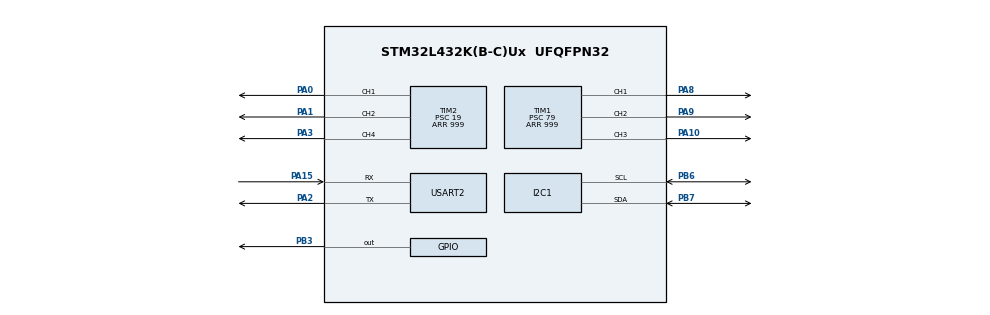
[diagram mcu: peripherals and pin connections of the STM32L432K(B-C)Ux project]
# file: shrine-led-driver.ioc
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I2C1.OwnAddress=16
I2C1.Timing=0x00100D14
Mcu.Family=STM32L4
Mcu.Name=STM32L432K(B-C)Ux
Mcu.Package=UFQFPN32
NVIC.I2C1_ER_IRQn=true\:0\:0\:false\:false\:true\:true\:true\:true
NVIC.I2C1_EV_IRQn=true\:0\:0\:false\:false\:true\:true\:true\:true
NVIC.PriorityGroup=NVIC_PRIORITYGROUP_4
PA0.Signal=S_TIM2_CH1
PA1.Signal=S_TIM2_CH2
PA10.Signal=S_TIM1_CH3
PA15\ (JTDI).Mode=Asynchronous
PA15\ (JTDI).Signal=USART2_RX
PA2.Mode=Asynchronous
PA2.Signal=USART2_TX
PA3.Signal=S_TIM2_CH4
PA8.Signal=S_TIM1_CH1
PA9.Signal=S_TIM1_CH2
PB3\ (JTDO-TRACESWO).Signal=GPIO_Output
PB6.Mode=I2C
PB6.Signal=I2C1_SCL
PB7.Mode=I2C
PB7.Signal=I2C1_SDA
ProjectManager.HeapSize=0x200
ProjectManager.StackSize=0x400
ProjectManager.TargetToolchain=STM32CubeIDE
RCC.HSE_VALUE=8000000
RCC.HSI48_VALUE=48000000
RCC.HSI_VALUE=16000000
RCC.LSE_VALUE=32768
RCC.MSI_VALUE=4000000
RCC.VCOOutputFreq_Value=32000000
SH.S_TIM1_CH1.0=TIM1_CH1,PWM Generation1 CH1
SH.S_TIM1_CH2.0=TIM1_CH2,PWM Generation2 CH2
SH.S_TIM1_CH3.0=TIM1_CH3,PWM Generation3 CH3
SH.S_TIM2_CH1.0=TIM2_CH1,PWM Generation1 CH1
SH.S_TIM2_CH2.0=TIM2_CH2,PWM Generation2 CH2
SH.S_TIM2_CH4.0=TIM2_CH4,PWM Generation4 CH4
TIM1.AutoReloadPreload=TIM_AUTORELOAD_PRELOAD_ENABLE
TIM1.Channel-PWM\ Generation1\ CH1=TIM_CHANNEL_1
TIM1.Channel-PWM\ Generation2\ CH2=TIM_CHANNEL_2
TIM1.Channel-PWM\ Generation3\ CH3=TIM_CHANNEL_3
TIM1.Period=999
TIM1.Prescaler=79
TIM2.AutoReloadPreload=TIM_AUTORELOAD_PRELOAD_ENABLE
TIM2.Channel-PWM\ Generation1\ CH1=TIM_CHANNEL_1
TIM2.Channel-PWM\ Generation2\ CH2=TIM_CHANNEL_2
TIM2.Channel-PWM\ Generation4\ CH4=TIM_CHANNEL_4
TIM2.Period=999
TIM2.Prescaler=19
USART2.VirtualMode-Asynchronous=VM_ASYNC
VP_TIM1_VS_ClockSourceINT.Mode=Internal
VP_TIM2_VS_ClockSourceINT.Mode=Internal
board=custom

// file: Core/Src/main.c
/* USER CODE BEGIN Header */
/**
  ******************************************************************************
  * @file           : main.c
  * @brief          : Main program body
  ******************************************************************************
  * @attention
  *
  * Copyright (c) 2026 STMicroelectronics.
  * All rights reserved.
  *
  * This software is licensed under terms that can be found in the LICENSE file
  * in the root directory of this software component.
  * If no LICENSE file comes with this software, it is provided AS-IS.
  *
  ******************************************************************************
  */
/* USER CODE END Header */
#include "main.h"

/* USER CODE BEGIN Includes */
#include <string.h>
#include <stdarg.h>
#include <stdio.h>
#include "valhalla_i2c_slave.h"
#include "valhalla_rgb_strip.h"
#include "status_pb3_led.h"
/* USER CODE END Includes */

I2C_HandleTypeDef hi2c1;

TIM_HandleTypeDef htim1;
TIM_HandleTypeDef htim2;

UART_HandleTypeDef huart2;

/* USER CODE BEGIN PV */
static uint32_t s_valhalla_i2c_rx_count_seen;
/* USER CODE END PV */

void SystemClock_Config(void);
static void MX_GPIO_Init(void);
static void MX_TIM1_Init(void);
static void MX_USART2_UART_Init(void);
static void MX_TIM2_Init(void);
static void MX_I2C1_Init(void);

/* USER CODE BEGIN 0 */
static void main_debug_vprint(const char *const fmt, va_list args);

void main_debug_print(const char *const fmt, ...)
{
  va_list args;

  va_start(args, fmt);
  main_debug_vprint(fmt, args);
  va_end(args);
}

static void main_debug_vprint(const char *const fmt, va_list args)
{
#ifndef NO_DEBUG_MAIN
    char str[256];
    uint16_t len;

    memset((char *)str, 0, sizeof(char) * 256);

    (void)vsnprintf((char *)str, sizeof(str), (char const *)fmt, args);

    len = (uint16_t)strlen((char *)str);

    HAL_UART_Transmit(&huart2, (uint8_t*)str, len, HAL_MAX_DELAY);
#endif

}

void main_debug_print_hex(const uint8_t *buf, uint16_t len)
{
    uint16_t i;
    for (i = 0; i < len; i++)
    {
      main_debug_print("0x%02X ", buf[i]);
    }
}

/* USER CODE END 0 */

int main(void)
{

  /* MCU Configuration--------------------------------------------------------*/

  /* Reset of all peripherals, Initializes the Flash interface and the Systick. */
  HAL_Init();

  /* Configure the system clock */
  SystemClock_Config();

  /* Initialize all configured peripherals */
  MX_GPIO_Init();
  MX_TIM1_Init();
  MX_USART2_UART_Init();
  MX_TIM2_Init();
  MX_I2C1_Init();
  /* USER CODE BEGIN 2 */

  main_debug_print("Initializing...\r\n");

  valhalla_i2c_slave_init(&hi2c1);

  HAL_TIM_PWM_Start(&htim1, TIM_CHANNEL_1); // Red
  HAL_TIM_PWM_Start(&htim1, TIM_CHANNEL_2); // Green
  HAL_TIM_PWM_Start(&htim1, TIM_CHANNEL_3); // Blue

  HAL_TIM_PWM_Start(&htim2, TIM_CHANNEL_1); // Red
  HAL_TIM_PWM_Start(&htim2, TIM_CHANNEL_2); // Green
  HAL_TIM_PWM_Start(&htim2, TIM_CHANNEL_4); // Blue

  status_pb3_led_init();
  s_valhalla_i2c_rx_count_seen = valhalla_i2c_rx_complete_count();

  valhalla_rgb_strip_bind_timers(&htim1, &htim2);

  /* USER CODE END 2 */

  /* Infinite loop */
  /* USER CODE BEGIN WHILE */

  main_debug_print("Starting loop.\r\n");

  while (1)
  {
    /* USER CODE END WHILE */

    /* USER CODE BEGIN 3 */
    uint32_t n_rx;
    uint32_t tick;

    valhalla_i2c_slave_poll_uart_log();

    tick = HAL_GetTick();
    n_rx = valhalla_i2c_rx_complete_count();
    if (n_rx != s_valhalla_i2c_rx_count_seen)
    {
      s_valhalla_i2c_rx_count_seen = n_rx;
      status_pb3_led_on_i2c_snapshot_if_valid(valhalla_i2c_get_last_tags());
    }

    status_pb3_led_poll(tick);

    HAL_Delay(50U);
  }
  /* USER CODE END 3 */
}

void SystemClock_Config(void)
{
  RCC_OscInitTypeDef RCC_OscInitStruct = {0};
  RCC_ClkInitTypeDef RCC_ClkInitStruct = {0};

  /** Configure the main internal regulator output voltage
  */
  if (HAL_PWREx_ControlVoltageScaling(PWR_REGULATOR_VOLTAGE_SCALE1) != HAL_OK)
  {
    Error_Handler();
  }

  /** Initializes the RCC Oscillators according to the specified parameters
  * in the RCC_OscInitTypeDef structure.
  */
  RCC_OscInitStruct.OscillatorType = RCC_OSCILLATORTYPE_MSI;
  RCC_OscInitStruct.MSIState = RCC_MSI_ON;
  RCC_OscInitStruct.MSICalibrationValue = 0;
  RCC_OscInitStruct.MSIClockRange = RCC_MSIRANGE_6;
  RCC_OscInitStruct.PLL.PLLState = RCC_PLL_NONE;
  if (HAL_RCC_OscConfig(&RCC_OscInitStruct) != HAL_OK)
  {
    Error_Handler();
  }

  /** Initializes the CPU, AHB and APB buses clocks
  */
  RCC_ClkInitStruct.ClockType = RCC_CLOCKTYPE_HCLK|RCC_CLOCKTYPE_SYSCLK
                              |RCC_CLOCKTYPE_PCLK1|RCC_CLOCKTYPE_PCLK2;
  RCC_ClkInitStruct.SYSCLKSource = RCC_SYSCLKSOURCE_MSI;
  RCC_ClkInitStruct.AHBCLKDivider = RCC_SYSCLK_DIV1;
  RCC_ClkInitStruct.APB1CLKDivider = RCC_HCLK_DIV1;
  RCC_ClkInitStruct.APB2CLKDivider = RCC_HCLK_DIV1;

  if (HAL_RCC_ClockConfig(&RCC_ClkInitStruct, FLASH_LATENCY_0) != HAL_OK)
  {
    Error_Handler();
  }
}

static void MX_I2C1_Init(void)
{

  hi2c1.Instance = I2C1;
  hi2c1.Init.Timing = 0x00100D14;
  hi2c1.Init.OwnAddress1 = 32;
  hi2c1.Init.AddressingMode = I2C_ADDRESSINGMODE_7BIT;
  hi2c1.Init.DualAddressMode = I2C_DUALADDRESS_DISABLE;
  hi2c1.Init.OwnAddress2 = 0;
  hi2c1.Init.OwnAddress2Masks = I2C_OA2_NOMASK;
  hi2c1.Init.GeneralCallMode = I2C_GENERALCALL_DISABLE;
  hi2c1.Init.NoStretchMode = I2C_NOSTRETCH_DISABLE;
  if (HAL_I2C_Init(&hi2c1) != HAL_OK)
  {
    Error_Handler();
  }

  /** Configure Analogue filter
  */
  if (HAL_I2CEx_ConfigAnalogFilter(&hi2c1, I2C_ANALOGFILTER_ENABLE) != HAL_OK)
  {
    Error_Handler();
  }

  /** Configure Digital filter
  */
  if (HAL_I2CEx_ConfigDigitalFilter(&hi2c1, 0) != HAL_OK)
  {
    Error_Handler();
  }

}

static void MX_TIM1_Init(void)
{

  TIM_ClockConfigTypeDef sClockSourceConfig = {0};
  TIM_MasterConfigTypeDef sMasterConfig = {0};
  TIM_OC_InitTypeDef sConfigOC = {0};
  TIM_BreakDeadTimeConfigTypeDef sBreakDeadTimeConfig = {0};

  htim1.Instance = TIM1;
  htim1.Init.Prescaler = 79;
  htim1.Init.CounterMode = TIM_COUNTERMODE_UP;
  htim1.Init.Period = 999;
  htim1.Init.ClockDivision = TIM_CLOCKDIVISION_DIV1;
  htim1.Init.RepetitionCounter = 0;
  htim1.Init.AutoReloadPreload = TIM_AUTORELOAD_PRELOAD_ENABLE;
  if (HAL_TIM_Base_Init(&htim1) != HAL_OK)
  {
    Error_Handler();
  }
  sClockSourceConfig.ClockSource = TIM_CLOCKSOURCE_INTERNAL;
  if (HAL_TIM_ConfigClockSource(&htim1, &sClockSourceConfig) != HAL_OK)
  {
    Error_Handler();
  }
  if (HAL_TIM_PWM_Init(&htim1) != HAL_OK)
  {
    Error_Handler();
  }
  sMasterConfig.MasterOutputTrigger = TIM_TRGO_RESET;
  sMasterConfig.MasterOutputTrigger2 = TIM_TRGO2_RESET;
  sMasterConfig.MasterSlaveMode = TIM_MASTERSLAVEMODE_DISABLE;
  if (HAL_TIMEx_MasterConfigSynchronization(&htim1, &sMasterConfig) != HAL_OK)
  {
    Error_Handler();
  }
  sConfigOC.OCMode = TIM_OCMODE_PWM1;
  sConfigOC.Pulse = 0;
  sConfigOC.OCPolarity = TIM_OCPOLARITY_HIGH;
  sConfigOC.OCNPolarity = TIM_OCNPOLARITY_HIGH;
  sConfigOC.OCFastMode = TIM_OCFAST_DISABLE;
  sConfigOC.OCIdleState = TIM_OCIDLESTATE_RESET;
  sConfigOC.OCNIdleState = TIM_OCNIDLESTATE_RESET;
  if (HAL_TIM_PWM_ConfigChannel(&htim1, &sConfigOC, TIM_CHANNEL_1) != HAL_OK)
  {
    Error_Handler();
  }
  if (HAL_TIM_PWM_ConfigChannel(&htim1, &sConfigOC, TIM_CHANNEL_2) != HAL_OK)
  {
    Error_Handler();
  }
  if (HAL_TIM_PWM_ConfigChannel(&htim1, &sConfigOC, TIM_CHANNEL_3) != HAL_OK)
  {
    Error_Handler();
  }
  sBreakDeadTimeConfig.OffStateRunMode = TIM_OSSR_DISABLE;
  sBreakDeadTimeConfig.OffStateIDLEMode = TIM_OSSI_DISABLE;
  sBreakDeadTimeConfig.LockLevel = TIM_LOCKLEVEL_OFF;
  sBreakDeadTimeConfig.DeadTime = 0;
  sBreakDeadTimeConfig.BreakState = TIM_BREAK_DISABLE;
  sBreakDeadTimeConfig.BreakPolarity = TIM_BREAKPOLARITY_HIGH;
  sBreakDeadTimeConfig.BreakFilter = 0;
  sBreakDeadTimeConfig.Break2State = TIM_BREAK2_DISABLE;
  sBreakDeadTimeConfig.Break2Polarity = TIM_BREAK2POLARITY_HIGH;
  sBreakDeadTimeConfig.Break2Filter = 0;
  sBreakDeadTimeConfig.AutomaticOutput = TIM_AUTOMATICOUTPUT_DISABLE;
  if (HAL_TIMEx_ConfigBreakDeadTime(&htim1, &sBreakDeadTimeConfig) != HAL_OK)
  {
    Error_Handler();
  }
  HAL_TIM_MspPostInit(&htim1);

}

static void MX_TIM2_Init(void)
{

  TIM_ClockConfigTypeDef sClockSourceConfig = {0};
  TIM_MasterConfigTypeDef sMasterConfig = {0};
  TIM_OC_InitTypeDef sConfigOC = {0};

  htim2.Instance = TIM2;
  htim2.Init.Prescaler = 19;
  htim2.Init.CounterMode = TIM_COUNTERMODE_UP;
  htim2.Init.Period = 999;
  htim2.Init.ClockDivision = TIM_CLOCKDIVISION_DIV1;
  htim2.Init.AutoReloadPreload = TIM_AUTORELOAD_PRELOAD_ENABLE;
  if (HAL_TIM_Base_Init(&htim2) != HAL_OK)
  {
    Error_Handler();
  }
  sClockSourceConfig.ClockSource = TIM_CLOCKSOURCE_INTERNAL;
  if (HAL_TIM_ConfigClockSource(&htim2, &sClockSourceConfig) != HAL_OK)
  {
    Error_Handler();
  }
  if (HAL_TIM_PWM_Init(&htim2) != HAL_OK)
  {
    Error_Handler();
  }
  sMasterConfig.MasterOutputTrigger = TIM_TRGO_RESET;
  sMasterConfig.MasterSlaveMode = TIM_MASTERSLAVEMODE_DISABLE;
  if (HAL_TIMEx_MasterConfigSynchronization(&htim2, &sMasterConfig) != HAL_OK)
  {
    Error_Handler();
  }
  sConfigOC.OCMode = TIM_OCMODE_PWM1;
  sConfigOC.Pulse = 0;
  sConfigOC.OCPolarity = TIM_OCPOLARITY_HIGH;
  sConfigOC.OCFastMode = TIM_OCFAST_DISABLE;
  if (HAL_TIM_PWM_ConfigChannel(&htim2, &sConfigOC, TIM_CHANNEL_1) != HAL_OK)
  {
    Error_Handler();
  }
  if (HAL_TIM_PWM_ConfigChannel(&htim2, &sConfigOC, TIM_CHANNEL_2) != HAL_OK)
  {
    Error_Handler();
  }
  if (HAL_TIM_PWM_ConfigChannel(&htim2, &sConfigOC, TIM_CHANNEL_4) != HAL_OK)
  {
    Error_Handler();
  }
  HAL_TIM_MspPostInit(&htim2);

}

static void MX_USART2_UART_Init(void)
{

  huart2.Instance = USART2;
  huart2.Init.BaudRate = 115200;
  huart2.Init.WordLength = UART_WORDLENGTH_8B;
  huart2.Init.StopBits = UART_STOPBITS_1;
  huart2.Init.Parity = UART_PARITY_NONE;
  huart2.Init.Mode = UART_MODE_TX_RX;
  huart2.Init.HwFlowCtl = UART_HWCONTROL_NONE;
  huart2.Init.OverSampling = UART_OVERSAMPLING_16;
  huart2.Init.OneBitSampling = UART_ONE_BIT_SAMPLE_DISABLE;
  huart2.AdvancedInit.AdvFeatureInit = UART_ADVFEATURE_NO_INIT;
  if (HAL_UART_Init(&huart2) != HAL_OK)
  {
    Error_Handler();
  }

}

static void MX_GPIO_Init(void)
{
  GPIO_InitTypeDef GPIO_InitStruct = {0};

  /* GPIO Ports Clock Enable */
  __HAL_RCC_GPIOA_CLK_ENABLE();
  __HAL_RCC_GPIOB_CLK_ENABLE();

  /*Configure GPIO pin Output Level */
  HAL_GPIO_WritePin(GPIOB, GPIO_PIN_3, GPIO_PIN_RESET);

  /*Configure GPIO pin : PB3 */
  GPIO_InitStruct.Pin = GPIO_PIN_3;
  GPIO_InitStruct.Mode = GPIO_MODE_OUTPUT_PP;
  GPIO_InitStruct.Pull = GPIO_NOPULL;
  GPIO_InitStruct.Speed = GPIO_SPEED_FREQ_LOW;
  HAL_GPIO_Init(GPIOB, &GPIO_InitStruct);

}

void Error_Handler(void)
{
  __disable_irq();
  while (1)
  {
  }
}
